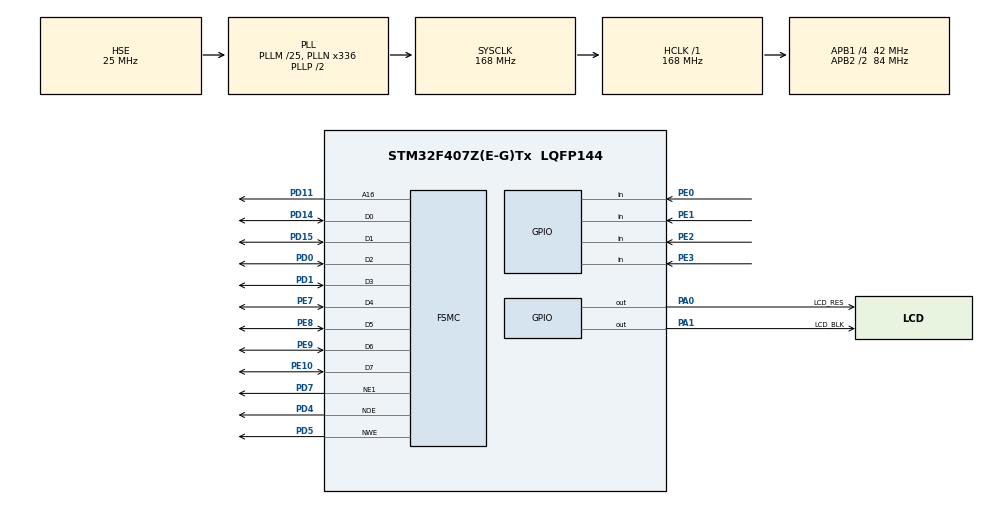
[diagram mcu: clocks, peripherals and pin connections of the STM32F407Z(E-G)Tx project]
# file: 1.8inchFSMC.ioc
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Dma.MEMTOMEM.0.Direction=DMA_MEMORY_TO_MEMORY
Dma.MEMTOMEM.0.FIFOMode=DMA_FIFOMODE_ENABLE
Dma.MEMTOMEM.0.FIFOThreshold=DMA_FIFO_THRESHOLD_FULL
Dma.MEMTOMEM.0.Instance=DMA2_Stream3
Dma.MEMTOMEM.0.MemBurst=DMA_MBURST_SINGLE
Dma.MEMTOMEM.0.MemDataAlignment=DMA_MDATAALIGN_BYTE
Dma.MEMTOMEM.0.MemInc=DMA_MINC_DISABLE
Dma.MEMTOMEM.0.Mode=DMA_NORMAL
Dma.MEMTOMEM.0.PeriphBurst=DMA_PBURST_SINGLE
Dma.MEMTOMEM.0.PeriphDataAlignment=DMA_PDATAALIGN_BYTE
Dma.MEMTOMEM.0.PeriphInc=DMA_PINC_ENABLE
Dma.MEMTOMEM.0.Priority=DMA_PRIORITY_MEDIUM
Dma.Request0=MEMTOMEM
FSMC.AddressSetupTime1=2
FSMC.BusTurnAroundDuration1=0
FSMC.DataSetupTime1=4
FSMC.ExtendedAddressSetupTime1=4
FSMC.ExtendedBusTurnAroundDuration1=0
FSMC.ExtendedDataSetupTime1=5
FSMC.ExtendedMode1=FSMC_EXTENDED_MODE_ENABLE
Mcu.Family=STM32F4
Mcu.Name=STM32F407Z(E-G)Tx
Mcu.Package=LQFP144
NVIC.DMA2_Stream3_IRQn=true\:0\:0\:false\:false\:true\:true\:true\:true
NVIC.PriorityGroup=NVIC_PRIORITYGROUP_4
PA0-WKUP.GPIO_Label=LCD_RES
PA0-WKUP.GPIO_PuPd=GPIO_NOPULL
PA0-WKUP.GPIO_Speed=GPIO_SPEED_FREQ_VERY_HIGH
PA0-WKUP.PinState=GPIO_PIN_RESET
PA0-WKUP.Signal=GPIO_Output
PA1.GPIO_Label=LCD_BLK
PA1.GPIO_PuPd=GPIO_NOPULL
PA1.GPIO_Speed=GPIO_SPEED_FREQ_VERY_HIGH
PA1.Signal=GPIO_Output
PA13.Mode=Serial_Wire
PA13.Signal=SYS_JTMS-SWDIO
PA14.Mode=Serial_Wire
PA14.Signal=SYS_JTCK-SWCLK
PD0.Signal=FSMC_D2_DA2
PD1.Signal=FSMC_D3_DA3
PD11.Signal=FSMC_A16_CLE
PD14.Signal=FSMC_D0_DA0
PD15.Signal=FSMC_D1_DA1
PD4.Signal=FSMC_NOE
PD5.Signal=FSMC_NWE
PD7.Mode=NorPsramChipSelect1_1
PD7.Signal=FSMC_NE1
PE0.GPIO_Mode=GPIO_MODE_INPUT
PE0.GPIO_PuPd=GPIO_PULLUP
PE0.Signal=GPIO_Input
PE1.GPIO_Mode=GPIO_MODE_INPUT
PE1.GPIO_PuPd=GPIO_PULLUP
PE1.Signal=GPIO_Input
PE10.Signal=FSMC_D7_DA7
PE2.GPIO_Mode=GPIO_MODE_INPUT
PE2.GPIO_PuPd=GPIO_PULLUP
PE2.Signal=GPIO_Input
PE3.GPIO_Mode=GPIO_MODE_INPUT
PE3.GPIO_PuPd=GPIO_PULLUP
PE3.Signal=GPIO_Input
PE7.Signal=FSMC_D4_DA4
PE8.Signal=FSMC_D5_DA5
PE9.Signal=FSMC_D6_DA6
PH0-OSC_IN.Mode=HSE-External-Oscillator
PH0-OSC_IN.Signal=RCC_OSC_IN
PH1-OSC_OUT.Mode=HSE-External-Oscillator
PH1-OSC_OUT.Signal=RCC_OSC_OUT
ProjectManager.HeapSize=0x400
ProjectManager.StackSize=0x800
ProjectManager.TargetToolchain=MDK-ARM V5.32
RCC.48MHZClocksFreq_Value=84000000
RCC.AHBFreq_Value=168000000
RCC.APB1CLKDivider=RCC_HCLK_DIV4
RCC.APB1Freq_Value=42000000
RCC.APB1TimFreq_Value=84000000
RCC.APB2CLKDivider=RCC_HCLK_DIV2
RCC.APB2Freq_Value=84000000
RCC.APB2TimFreq_Value=168000000
RCC.CortexFreq_Value=168000000
RCC.HCLKFreq_Value=168000000
RCC.HSE_VALUE=25000000
RCC.HSI_VALUE=16000000
RCC.LSE_VALUE=32768
RCC.PLLM=25
RCC.PLLN=336
RCC.PLLSourceVirtual=RCC_PLLSOURCE_HSE
RCC.SYSCLKFreq_VALUE=168000000
RCC.SYSCLKSource=RCC_SYSCLKSOURCE_PLLCLK
RCC.VCOOutputFreq_Value=336000000
SH.FSMC_A16_CLE.0=FSMC_A16,A16_1
SH.FSMC_D0_DA0.0=FSMC_D0,8b-d1
SH.FSMC_D1_DA1.0=FSMC_D1,8b-d1
SH.FSMC_D2_DA2.0=FSMC_D2,8b-d1
SH.FSMC_D3_DA3.0=FSMC_D3,8b-d1
SH.FSMC_D4_DA4.0=FSMC_D4,8b-d1
SH.FSMC_D5_DA5.0=FSMC_D5,8b-d1
SH.FSMC_D6_DA6.0=FSMC_D6,8b-d1
SH.FSMC_D7_DA7.0=FSMC_D7,8b-d1
SH.FSMC_NOE.0=FSMC_NOE,Lcd1
SH.FSMC_NWE.0=FSMC_NWE,Lcd1
board=custom

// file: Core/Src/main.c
/* USER CODE BEGIN Header */
/**
  ******************************************************************************
  * @file           : main.c
  * @brief          : Main program body
  ******************************************************************************
  * @attention
  *
  * Copyright (c) 2025 STMicroelectronics.
  * All rights reserved.
  *
  * This software is licensed under terms that can be found in the LICENSE file
  * in the root directory of this software component.
  * If no LICENSE file comes with this software, it is provided AS-IS.
  *
  ******************************************************************************
  */
/* USER CODE END Header */
#include "main.h"
#include "dma.h"
#include "gpio.h"
#include "fsmc.h"

/* USER CODE BEGIN Includes */
#include "lcd.h"
#include "sxgui.h"
#include "graphics_api.h"
#include "image.h"

/* USER CODE END Includes */

void SystemClock_Config(void);

/* USER CODE BEGIN 0 */
//APP函数
void Draw_Line(APP_PARAMETERS) {
  static int tick;
  static int i;
  if(Graphics_GetTick() - tick > 15) {
    i++;
    tick = Graphics_GetTick();
  }
  if(i > 127) {
    i = 0;
  }
  Graphics_DrawLine(0, 0, i, 63, 1, SOLID_LINE);
  Graphics_DrawLine(127, 0, 127 - i, 63, 1, DASHED_LINE);
}

void Draw_Round(APP_PARAMETERS) {
  static int tick;
  static int i;
  static bool flag = true;
  if(Graphics_GetTick() - tick > 30) {
    if(flag) {
      i++;
    } else {
      i--;
    }
    tick = Graphics_GetTick();
  }
  if(i > 31) {
    flag = false;
  } else if(i < 0) {
    flag = true;
  }
  char tmp[8];
  sprintf(tmp, "r=%d", i);
  Graphics_DrawRound(64, 31, i, 1, 1, SOLID);
  Graphics_ShowString(0, 0, tmp, 16, 1);
}

void Round_Rect(APP_PARAMETERS) {
  static int tick;
  static int width = 0;
  static bool flag = true;

  for(;;) {
    if(Graphics_GetTick() - tick > 15) {
      if(flag) {
        width++;
      } else {
        width--;
      }
      tick = Graphics_GetTick();
    }
    if(width > 63) {
      flag = false;
    } else if(width < 0) {
      flag = true;
      HAL_Delay(500);
      APP_EXIT;
      //主动退出
    }
    Graphics_DrawRoundRect(0, 0, width, width / 2, 4, 1, HOLLOW);
    Graphics_DrawRoundRect(64, 0, width + 64, width / 2, 4, 1, SOLID);
    Graphics_DrawRoundRect(0, 32, width, width / 2 + 32, 8, 1, SOLID);
    Graphics_DrawRoundRect(64, 32, width + 64, width / 2 + 32, 8, 1, HOLLOW);

    Graphics_Display();//由于是死循环，所以要自行调用显示函数
  }
}

void Kernel_Infor(APP_PARAMETERS) {
  Graphics_ShowString(0, 24, "SXGUI v1.3", 16, BLACK);
}

void Graphics_Infor(APP_PARAMETERS) {
  Graphics_ShowString(0, 24, "Graphics Version:v1.2", 16, BLACK);
}

void Driver_Infor(APP_PARAMETERS) {
  Graphics_ShowString(0, 24, "Driver Version:LCD v1.0", 16, BLACK);
}

void Controls(APP_PARAMETERS) {
  static double percent = 0;
  static int tick = 0;

  if(Graphics_GetTick() - tick > 10) {
    percent += 0.01;
    tick = Graphics_GetTick();
  }

  if(percent > 1.0f) {
    percent = 0;
  }

  Message_Box("  Message Box  ", 16, LIGHTBLUE, BLACK);
  Progress_Bar(14, 24, 140, 6, BLACK, LGRAY, BLUE, percent);
}

void Writer_Infor(APP_PARAMETERS) {
  static int tick;
  static bool CB = true;
  Graphics_ShowString(0, 0, "BY:SUIXIN", 16, BLACK);
  if(Graphics_GetTick() - tick > 5000) {
    CB = !CB;
    tick = Graphics_GetTick();
  }
  if(CB) {
    Graphics_ShowString(0, 24, "CSDN: https://blog.csdn.net/m0_73677866", 12, BLACK);
    return;
  }
  Graphics_ShowString(0, 24, "Bilibili: https://space.bilibili.com/3494359452354953", 12, BLACK);
}

void PID_Infor(APP_PARAMETERS) {
  char tmp[16];
  sprintf(tmp, "Kp: %.3f", PID_Parameter.Kp);
  Graphics_ShowString(0, 0, tmp, 12, BLACK);
  sprintf(tmp, "Ki: %.3f", PID_Parameter.Ki);
  Graphics_ShowString(0, 12, tmp, 12, BLACK);
  sprintf(tmp, "Kd: %.3f", PID_Parameter.Kd);
  Graphics_ShowString(0, 24, tmp, 12, BLACK);
  sprintf(tmp, "Factor: %.3f", PID_Parameter.Factor);
  Graphics_ShowString(0, 36, tmp, 12, BLACK);
  sprintf(tmp, "MinTime: %dms", PID_Parameter.MinTime);
  Graphics_ShowString(0, 48, tmp, 12, BLACK);
}

void Hub_Interface(INTERFACE_PARAMETERS) {
  int List_x = Fontsize / 2,
      List_y = Fontsize + 1;
  static float zoom;
  zoom = (tick < TRANSITION_TIMES ? (log(tick) / log(TRANSITION_TIMES)) : 1.0f);
  static int len;
  len = GetStrLen(Menu->name);

  Graphics_ShowString(-len * Fontsize * (1.0f - zoom), 0, Menu->name, Fontsize, FontColor);
  Graphics_ListChoose(List_x, List_y, SCREEN_WIDTH - List_x - 2, SCREEN_HEIGHT - Fontsize - 1,
                      Fontsize, Menu, MenuNum, AppNum, option, POINTER_STYLE, FontColor, tick);

}

//调用SXGUI的库函数, 初始化并创建GUI界面
/*说明：这里只是封装成了单独的函数，实际使用可以直接在
  主程序中写（因为单独写菜单项的作用域在函数内）
*/
void SX_MenuInit(void) {
  SXGUI_Init("Hub", Hub_Interface); //初始化GUI库

  SXGUI_MenuItem* Sub1 = SXGUI_CreateMenu("Infor", SXGUI_Interface);
  SXGUI_MenuItem* Sub2 = SXGUI_CreateMenu("GUI Infor", SXGUI_Interface);
  SXGUI_APPItem* App1 = SXGUI_CreateApp("Draw Line", Draw_Line);
  SXGUI_APPItem* App2 = SXGUI_CreateApp("Draw Round", Draw_Round);
  SXGUI_APPItem* App3 = SXGUI_CreateApp("Round Rect", Round_Rect);
  SXGUI_APPItem* App4 = SXGUI_CreateApp("Kernel Version", Kernel_Infor);
  SXGUI_APPItem* App5 = SXGUI_CreateApp("Graphics Version", Graphics_Infor);
  SXGUI_APPItem* App6 = SXGUI_CreateApp("Driver Infor", Driver_Infor);
  SXGUI_APPItem* App7 = SXGUI_CreateApp("Writer Infor", Writer_Infor);
  SXGUI_APPItem* App8 = SXGUI_CreateApp("PID Parameter", PID_Infor);
  SXGUI_APPItem* MSG = SXGUI_CreateApp("Controls", Controls);
  //创建菜单项、APP项

  SXGUI_RootAddSubMenu(Sub1);
  SXGUI_AddSubMenu(Sub1, Sub2);

  SXGUI_RootAddApp(App1);
  SXGUI_RootAddApp(App2);
  SXGUI_RootAddApp(App3);
  SXGUI_RootAddApp(MSG);

  SXGUI_AddApp(Sub2, App4);
  SXGUI_AddApp(Sub2, App5);
  SXGUI_AddApp(Sub2, App6);
  SXGUI_AddApp(Sub2, App7);
  SXGUI_AddApp(Sub2, App8);
  //添加菜单、APP（顺序随意）

}

//读取按键并消抖
#define KeyNum    4
void Scan_Key(SXGUI_KeyItem* Key) {
  static int ShakeFree[KeyNum];
  static int tick;
  static SXGUI_KeyItem Last;
  if(HAL_GetTick() - tick > 2) {
    tick = HAL_GetTick();
  } else {
    return;
  }
  bool* KeyPtr;
  GPIO_PinState PINState;
  SXGUI_KeyItem tmp;
  for(int i = 0; i < KeyNum; i++) {
    switch(i) {
    case 0:
      KeyPtr = &Key->Back;
      PINState = HAL_GPIO_ReadPin(GPIOE, GPIO_PIN_0);
      break;
    case 1:
      KeyPtr = &Key->Pre;
      PINState = HAL_GPIO_ReadPin(GPIOE, GPIO_PIN_1);
      break;
    case 2:
      KeyPtr = &Key->Next;
      PINState = HAL_GPIO_ReadPin(GPIOE, GPIO_PIN_2);
      break;
    case 3:
      KeyPtr = &Key->OK;
      PINState = HAL_GPIO_ReadPin(GPIOE, GPIO_PIN_3);
      break;
    }
    if(PINState == RESET) {
      ShakeFree[i]++;
      if(ShakeFree[i] > 5) {
        *KeyPtr = true;
        ShakeFree[i] = 10;
      } else {
        *KeyPtr = false;
      }
    } else {
      ShakeFree[i]--;
      if(ShakeFree[i] < 5) {
        ShakeFree[i] = 0;
        *KeyPtr = false;
      } else {
        *KeyPtr = true;
      }
    }
  }
  tmp.Back = Key->Back;
  tmp.Pre = Key->Pre;
  tmp.Next = Key->Next;
  tmp.OK = Key->OK;

  Key->Back ^= Last.Back;
  Key->Pre ^= Last.Pre;
  Key->Next ^= Last.Next;
  Key->OK ^= Last.OK;

  Key->Back &= tmp.Back;
  Key->Pre &= tmp.Pre;
  Key->Next &= tmp.Next;
  Key->OK &= tmp.OK;

  Last.Back = tmp.Back;
  Last.Pre = tmp.Pre;
  Last.Next = tmp.Next;
  Last.OK = tmp.OK;
}

void DrawBackGrand(void) {
  LCD_ShowImage(0, 0, 160, 128, (uint8_t*)gImage_back);
}

/* USER CODE END 0 */

int main(void) {

  /* MCU Configuration--------------------------------------------------------*/

  /* Reset of all peripherals, Initializes the Flash interface and the Systick. */
  HAL_Init();

  /* Configure the system clock */
  SystemClock_Config();

  /* Initialize all configured peripherals */
  MX_GPIO_Init();
  MX_DMA_Init();
  MX_FSMC_Init();
  /* USER CODE BEGIN 2 */

  //设置PID参数
  PID_Parameter.Kp = -3.2;
  PID_Parameter.Ki = 4.032;
  PID_Parameter.Kd = 0.879;
  PID_Parameter.Factor = 0.1;
  PID_Parameter.MinTime = 10;

  //创建按键结构体
  SXGUI_KeyItem* Key = malloc(sizeof(SXGUI_KeyItem));

  //初始化图形库和GUI库
  Graphics_Init();
  Graphics_RegBack(DrawBackGrand);    //注册背景
  SX_MenuInit();
  /* USER CODE END 2 */

  /* Infinite loop */
  while(1) {

    /* USER CODE BEGIN 3 */
    Scan_Key(Key);
    SXGUI_Main(24, RED, RED, FRAME_STYLE, Key);
  }
  /* USER CODE END 3 */
}

void SystemClock_Config(void) {
  RCC_OscInitTypeDef RCC_OscInitStruct = {0};
  RCC_ClkInitTypeDef RCC_ClkInitStruct = {0};

  /** Configure the main internal regulator output voltage
  */
  __HAL_RCC_PWR_CLK_ENABLE();
  __HAL_PWR_VOLTAGESCALING_CONFIG(PWR_REGULATOR_VOLTAGE_SCALE1);

  /** Initializes the RCC Oscillators according to the specified parameters
  * in the RCC_OscInitTypeDef structure.
  */
  RCC_OscInitStruct.OscillatorType = RCC_OSCILLATORTYPE_HSE;
  RCC_OscInitStruct.HSEState = RCC_HSE_ON;
  RCC_OscInitStruct.PLL.PLLState = RCC_PLL_ON;
  RCC_OscInitStruct.PLL.PLLSource = RCC_PLLSOURCE_HSE;
  RCC_OscInitStruct.PLL.PLLM = 25;
  RCC_OscInitStruct.PLL.PLLN = 336;
  RCC_OscInitStruct.PLL.PLLP = RCC_PLLP_DIV2;
  RCC_OscInitStruct.PLL.PLLQ = 4;
  if(HAL_RCC_OscConfig(&RCC_OscInitStruct) != HAL_OK) {
    Error_Handler();
  }

  /** Initializes the CPU, AHB and APB buses clocks
  */
  RCC_ClkInitStruct.ClockType = RCC_CLOCKTYPE_HCLK | RCC_CLOCKTYPE_SYSCLK
                                | RCC_CLOCKTYPE_PCLK1 | RCC_CLOCKTYPE_PCLK2;
  RCC_ClkInitStruct.SYSCLKSource = RCC_SYSCLKSOURCE_PLLCLK;
  RCC_ClkInitStruct.AHBCLKDivider = RCC_SYSCLK_DIV1;
  RCC_ClkInitStruct.APB1CLKDivider = RCC_HCLK_DIV4;
  RCC_ClkInitStruct.APB2CLKDivider = RCC_HCLK_DIV2;

  if(HAL_RCC_ClockConfig(&RCC_ClkInitStruct, FLASH_LATENCY_5) != HAL_OK) {
    Error_Handler();
  }
}

void Error_Handler(void) {
  __disable_irq();
  while(1) {
  }
}
